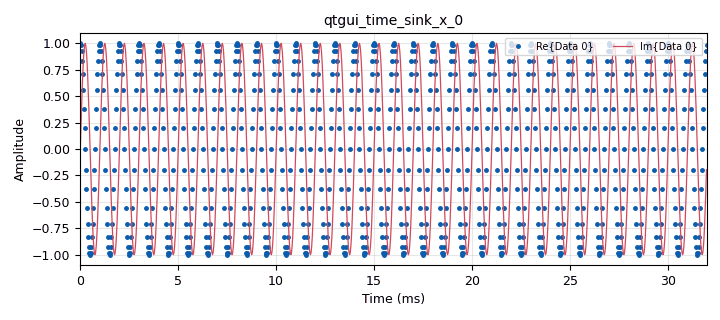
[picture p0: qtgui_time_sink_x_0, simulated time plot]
options:
  parameters:
    generate_options: qt_gui
    id: default
    output_language: python
    title: Not titled yet
  states: {}

blocks:
- name: samp_rate
  id: variable
  parameters:
    value: '32000'
  states: {}
- name: analog_noise_source_x_0
  id: analog_noise_source_x
  parameters:
    amp: '0.2'
    noise_type: analog.GR_GAUSSIAN
    seed: '0'
    type: complex
  states: {state: disabled}
- name: analog_sig_source_x_0
  id: analog_sig_source_x
  parameters:
    amp: '1'
    freq: '1000'
    offset: '0'
    phase: '0'
    samp_rate: samp_rate
    type: complex
    waveform: analog.GR_COS_WAVE
  states: {}
- name: blocks_add_xx_0
  id: blocks_add_xx
  parameters:
    type: complex
  states: {state: disabled}
- name: blocks_throttle2_0
  id: blocks_throttle2
  parameters:
    samples_per_second: samp_rate
    type: complex
  states: {}
- name: qtgui_time_sink_x_0
  id: qtgui_time_sink_x
  parameters:
    autoscale: 'True'
    grid: 'True'
    marker1: '0'
    size: '1024'
    srate: samp_rate
    style1: '0'
    type: complex
  states: {}

connections:
- [analog_noise_source_x_0, '0', blocks_add_xx_0, '1']
- [analog_sig_source_x_0, '0', blocks_throttle2_0, '0']
- [blocks_add_xx_0, '0', blocks_throttle2_0, '0']
- [blocks_throttle2_0, '0', qtgui_time_sink_x_0, '0']

metadata:
  file_format: 1
  grc_version: 3.10.6.0
